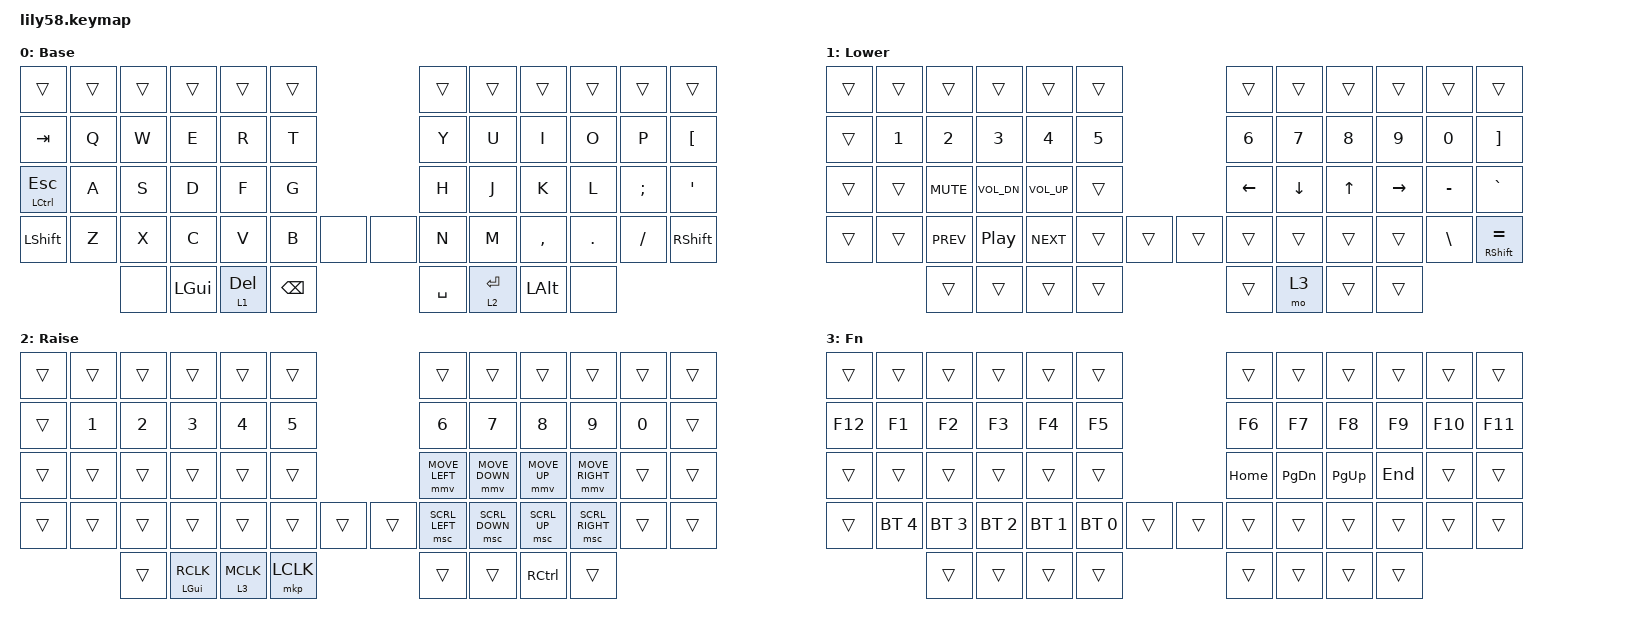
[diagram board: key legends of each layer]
/*
 * Copyright (c) 2020 The ZMK Contributors
 *
 * SPDX-License-Identifier: MIT
 */

#define ZMK_POINTING_DEFAULT_MOVE_VAL 1500
#define ZMK_POINTING_DEFAULT_SCRL_VAL 20

#include <behaviors.dtsi>
#include <dt-bindings/zmk/bt.h>
#include <dt-bindings/zmk/keys.h>
#include <dt-bindings/zmk/pointing.h>

&lt {
    tapping-term-ms = <150>;
    quick-tap-ms = <150>;
    flavor = "hold-preferred";
};

/ {
    behaviors {
        m_mouse: mod_tapmouse {
            compatible = "zmk,behavior-hold-tap";
            #binding-cells = <2>;
            flavor = "hold-preferred";
            tapping-term-ms = <200>;
            bindings = <&kp>, <&mkp>;
            display-name = "Mod-TapMouse";
        };

        l_mouse: layer_tapmouse {
            compatible = "zmk,behavior-hold-tap";
            #binding-cells = <2>;
            flavor = "tap-preferred";
            tapping-term-ms = <200>;
            bindings = <&mo>, <&mkp>;
            display-name = "Layer-TapMouse";
        };
    };

    combos {
        compatible = "zmk,combos";

        unpair {
            bindings = <&bt BT_CLR>;
            key-positions = <35 24>;
            layers = <3>;
        };
    };

    keymap {
        compatible = "zmk,keymap";

        default_layer {
            // ---------------------------------------------------------------------------------------------------
            // |   F12    | F1  | F2 | F3  |   F4    |  F5  |           | F6  |   F7    |  F8 |  F9 | F10 | F11  |
            // |   TAB    |  Q  | W  |  E  |    R    |  T   |           |  Y  |    U    |  I  |  O  |  P  |  [   |
            // | CTRL ESC |  A  | S  |  D  |    F    |  G   |           |  H  |    J    |  K  |  L  |  ;  |  '   |
            // |   SHFT   |  Z  | X  |  C  |    V    |  B   |   |   |   |  N  |    M    |  ,  |  .  |  /  | SHFT |
            //                  |    | GUI | LWR DEL | BSPC |           | SPC | RSE ENT | ALT |     |

            display-name = "Base";
            bindings = <
   &trans           &trans &trans &trans   &trans       &trans                      &trans    &trans       &trans    &trans   &trans    &trans
   &kp TAB          &kp Q  &kp W  &kp E    &kp R        &kp T                       &kp Y     &kp U        &kp I     &kp O    &kp P     &kp LEFT_BRACKET
   &mt LCTRL ESCAPE &kp A  &kp S  &kp D    &kp F        &kp G                       &kp H     &kp J        &kp K     &kp L    &kp SEMI  &kp SQT
   &kp LSHFT        &kp Z  &kp X  &kp C    &kp V        &kp B         &none   &none &kp N     &kp M        &kp COMMA &kp DOT  &kp FSLH  &kp RSHFT
                           &none  &kp LGUI &lt 1 DELETE &kp BACKSPACE               &kp SPACE &lt 2 RETURN &kp LALT &none
            >;
        };

        lower_layer {
            // -----------------------------------------------------------------------------------------
            // |      |     |     |     |     |     |           |     |     |     |     |     |        |
            // |      |  1  |  2  |  3  |  4  |  5  |           |  6  |  7  |  8  |  9  |  0  |   ]    |
            // |      |     | MUT | VDN | VUP |     |           | LFT | DWN | UP  | RGT |  -  |   `    |
            // |      |     | PRV | PLY | NXT |     |   |   |   |     |     |     |     |  \  | SHFT = |
            //              |     |     |     |     |           |     | CMB |     |     |

            display-name = "Lower";
            bindings = <
   &trans &trans       &trans       &trans           &trans       &trans                       &trans        &trans        &trans        &trans        &trans         &trans
   &trans &kp NUMBER_1 &kp NUMBER_2 &kp NUMBER_3     &kp NUMBER_4 &kp NUMBER_5                 &kp NUMBER_6  &kp NUMBER_7  &kp NUMBER_8  &kp NUMBER_9  &kp NUMBER_0   &kp RIGHT_BRACKET
   &trans &trans       &kp C_MUTE   &kp C_VOL_DN     &kp C_VOL_UP &trans                       &kp LEFT      &kp DOWN      &kp UP        &kp RIGHT     &kp MINUS      &kp GRAVE
   &trans &trans       &kp C_PREV   &kp C_PLAY_PAUSE &kp C_NEXT   &trans       &trans   &trans &trans        &trans        &trans        &trans        &kp BACKSLASH  &mt RSHFT EQUAL
                       &trans       &trans           &trans       &trans                       &trans        &mo 3         &trans        &trans
            >;
        };

        raise_layer {
            // -----------------------------------------------------------------------------------------------
            // |         |     |     |     |     |      |           |      |      |      |      |     |      |
            // |         |  1  |  2  |  3  |  4  |  5   |           |  6   |  7   |  8   |  9   |  0  |      |
            // |         |     |     |     |     |      |           | 🖱️⬅️ | 🖱️⬇️ | 🖱️⬆️ | 🖱️➡️ |     |      |
            // | SHFT MS |     |     |     |     |      |   |   |   | 📜⬅️ | 📜⬇️ | 📜⬆️ | 📜➡️ |     |      |
            //                       |     | CMB | LCLK |           |      |      | RCTL |

            display-name = "Raise";
            bindings = <
   &trans &trans       &trans       &trans             &trans          &trans                       &trans         &trans         &trans       &trans          &trans        &trans
   &trans &kp NUMBER_1 &kp NUMBER_2 &kp NUMBER_3       &kp NUMBER_4    &kp NUMBER_5                 &kp NUMBER_6   &kp NUMBER_7   &kp NUMBER_8 &kp NUMBER_9    &kp NUMBER_0  &trans
   &trans &trans       &trans       &trans             &trans          &trans                       &mmv MOVE_LEFT &mmv MOVE_DOWN &mmv MOVE_UP &mmv MOVE_RIGHT &trans        &trans
   &trans &trans       &trans       &trans             &trans          &trans       &trans   &trans &msc SCRL_LEFT &msc SCRL_DOWN &msc SCRL_UP &msc SCRL_RIGHT &trans        &trans
                            &trans       &m_mouse LGUI RCLK &l_mouse 3 MCLK &mkp LCLK                    &trans         &trans         &kp RCTRL    &trans
            >;
        };

        fn_layer {
            // ----------------------------------------------------------------------------------------
            // |     |     |     |     |     |     |           |      |      |      |     |     |     |
            // | F12 | F1  | F2  | F3  | F4  | F5  |           |  F6  |  F7  |  F8  | F9  | F10 | F11 |
            // |     |     |     |     |     |     |           | HOME | PGDN | PGUP | END |     |     |
            // |     | BT5 | BT4 | BT3 | BT2 | BT1 |   |   |   |      |      |      |     |     |     |
            //             |     |     |     |     |           |      |      |      |

            display-name = "Fn";
            bindings = <
   &trans  &trans       &trans       &trans       &trans       &trans                       &trans   &trans    &trans    &trans  &trans  &trans
   &kp F12 &kp F1       &kp F2       &kp F3       &kp F4       &kp F5                       &kp F6   &kp F7    &kp F8    &kp F9  &kp F10 &kp F11
   &trans  &trans       &trans       &trans       &trans       &trans                       &kp HOME &kp PG_DN &kp PG_UP &kp END &trans  &trans
   &trans  &bt BT_SEL 4 &bt BT_SEL 3 &bt BT_SEL 2 &bt BT_SEL 1 &bt BT_SEL 0 &trans   &trans &trans   &trans    &trans    &trans  &trans  &trans
                        &trans       &trans       &trans       &trans                       &trans   &trans    &trans    &trans
            >;
        };
    };
};
